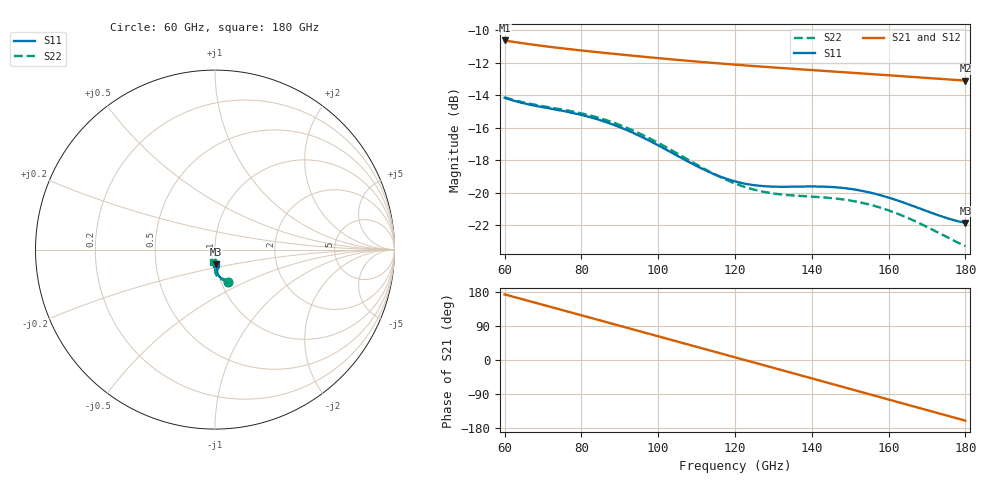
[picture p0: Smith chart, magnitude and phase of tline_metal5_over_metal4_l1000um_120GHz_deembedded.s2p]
! Created with skrf 2.0.1 (http://scikit-rf.org).
# GHz S DB R 50.0
!freq dBS11 angS11 dBS21 angS21 dBS12 angS12 dBS22 angS22
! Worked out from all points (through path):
!   101 points, 60 GHz to 180 GHz, reference 50 ohm
!   highest |S21| = -10.63 dB at 60 GHz (marker M1); lowest = -13.1 dB at 180 GHz (marker M2)
!   group delay of S21, straight-line fit = 7.72 ps
!   lowest |S11| = -21.9 dB at 180 GHz (marker M3), VSWR 1.18, Z = 50 - j8.09 ohm
!   |S11| at or under -10 dB: start of sweep to end of sweep
!   |S22| runs from -23.3 to -14.1 dB; largest |S21 - S12| = 2.9e-13
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60  -14.17 -67.6  -10.63 173.1  -10.63 173.1  -14.13 -68.4
64.8  -14.49 -67.9  -10.81 159.9  -10.81 159.9  -14.44 -68.9
69.6  -14.73 -68.9  -10.96 146.7  -10.96 146.7  -14.67 -70.0
75.6  -14.99 -71.1  -11.13 130.2  -11.13 130.2  -14.91 -72.4
80.4  -15.25 -73.4  -11.26 116.9  -11.26 116.9  -15.15 -75.0
85.2  -15.57 -76.0  -11.38 103.6  -11.38 103.6  -15.45 -78.0
90  -15.98 -78.7  -11.49 90.3  -11.49 90.3  -15.84 -81.1
94.8  -16.47 -81.2  -11.61 77.0  -11.61 77.0  -16.32 -84.0
100.8  -17.20 -83.5  -11.74 60.3  -11.74 60.3  -17.04 -87.1
110.4  -18.41 -84.5  -11.94 33.7  -11.94 33.7  -18.33 -89.8
115.2  -18.93 -83.7  -12.03 20.4  -12.03 20.4  -18.93 -89.8
120  -19.31 -82.4  -12.12 7.1  -12.12 7.1  -19.44 -89.2
124.8  -19.54 -81.0  -12.21 -6.2  -12.21 -6.2  -19.81 -88.2
129.6  -19.63 -80.0  -12.29 -19.6  -12.29 -19.6  -20.04 -87.3
134.4  -19.64 -79.6  -12.37 -32.9  -12.37 -32.9  -20.17 -86.9
140.4  -19.63 -80.3  -12.46 -49.6  -12.46 -49.6  -20.26 -87.5
146.4  -19.68 -81.9  -12.56 -66.3  -12.56 -66.3  -20.38 -89.1
151.2  -19.82 -83.6  -12.64 -79.7  -12.64 -79.7  -20.54 -90.9
160.8  -20.37 -86.7  -12.79 -106.5  -12.79 -106.5  -21.17 -95.0
165.6  -20.76 -87.6  -12.87 -119.9  -12.87 -119.9  -21.63 -96.6
171.6  -21.29 -87.5  -12.97 -136.7  -12.97 -136.7  -22.31 -97.8
180  -21.87 -85.1  -13.11 -160.1  -13.11 -160.1  -23.30 -97.1
